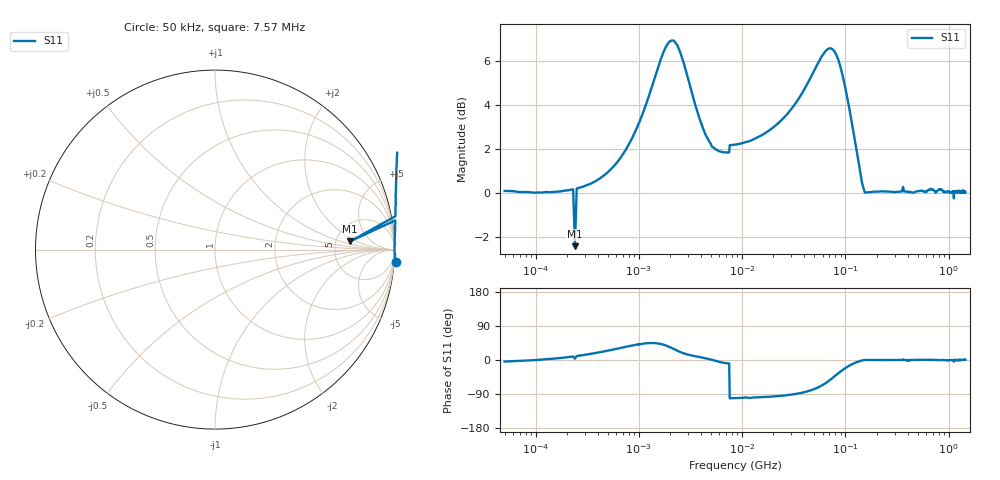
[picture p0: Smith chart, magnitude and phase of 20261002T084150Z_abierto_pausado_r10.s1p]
! piloto_saltos / abierto_pausado / r10
# HZ S RI R 50
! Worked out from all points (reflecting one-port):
!   501 points, 50 kHz to 1.45 GHz, reference 50 ohm
!   lowest |S11| = -2.4 dB at 240 kHz (marker M1), VSWR 7.17, Z = 342 + j74 ohm
!   phase of S11 starts at -4 deg and turns +5 deg over the sweep
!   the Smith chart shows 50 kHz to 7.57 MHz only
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50000  1.006 -0.0705
183000  1.003 0.105
240000  0.7537 0.0465
658000  1.02 0.6277
1180000  1.146 1.111
1630000  1.49 1.354
1990000  1.831 1.238
2440000  1.959 0.8136
2890000  1.805 0.4901
3430000  1.588 0.2928
4960000  1.292 0.03
7300000  1.218 -0.1932
7750000  -0.2411 -1.259
8560000  -0.2356 -1.264
1.81e7  -0.1691 -1.373
3.16e7  -0.0113 -1.576
4.69e7  0.3395 -1.812
5.68e7  0.6973 -1.885
6.49e7  1.046 -1.827
7.39e7  1.398 -1.598
8.65e7  1.651 -1.101
9.82e7  1.627 -0.6743
1e8  1.608 -0.6204
1.18e8  1.377 -0.2435
1.36e8  1.148 -0.0697
1.63e8  1.001 0.000557
4.06e8  1.005 0.00052
1.45e9  1.002 0.0132
